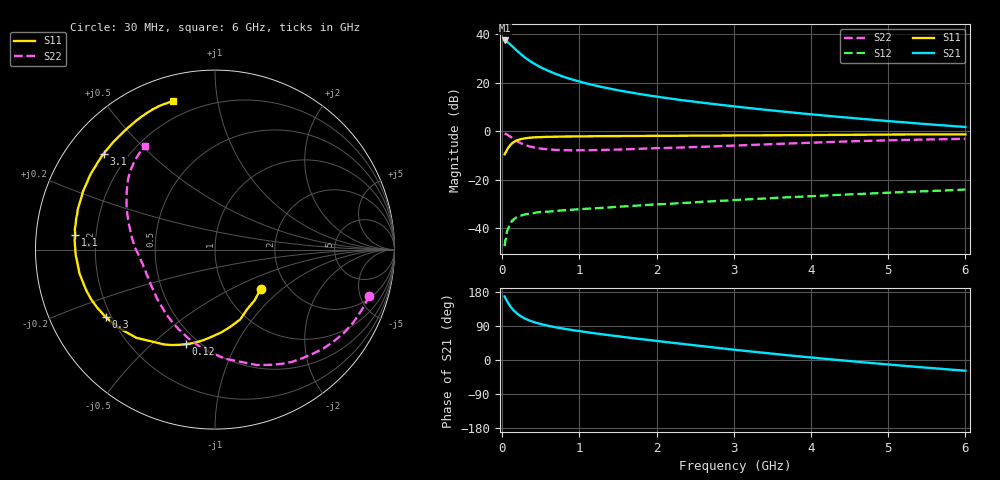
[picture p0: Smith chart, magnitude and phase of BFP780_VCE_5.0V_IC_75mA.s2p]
! Infineon Technologies  Discrete & RF Semiconductors
! BFP780
! VCE =  5.0 V,  IC =  75 mA
! Common Emitter S-Parameters:  Jul 2015
# GHz  S  MA  R  50
!  f  S11  S21  S12  S22
! GHz  MAG  ANG  MAG  ANG  MAG  ANG  MAG  ANG
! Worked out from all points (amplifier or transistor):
!   75 points, 30 MHz to 6 GHz, reference 50 ohm
!   highest |S21| = 37.4 dB at 30 MHz (marker M1)
!   |S21| within 3 dB of that: start of sweep to 148.6 MHz
!   unconditionally stable (mu >= 1): 1.742 GHz to end of sweep
!   at 150 MHz: K = 0.21, MSG = 35.3 dB, |S12| = -36.2 dB
!   at 2.3 GHz: K = 1.13, MAG = 19.1 dB, |S12| = -29.6 dB
!   at 6 GHz: K = 1.19, MAG = 10.3 dB, |S12| = -24.0 dB
!   S11 on the Smith chart (normalised r, x): 30 MHz: 1.47, -0.73; 120 MHz: 0.43, -0.65; 300 MHz: 0.18, -0.27; 1.1 GHz: 0.12, +0.05; 3.1 GHz: 0.11, +0.37; 6 GHz: 0.12, +0.75
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0.03  0.3356 -40.9  73.8 167.7  0.0043 62.8  0.8981 -16.7
0.05  0.3786 -62.0  71.18 159.6  0.0062 63.7  0.8715 -27.6
0.07  0.4369 -78.3  67.78 152.4  0.0094 60.5  0.8362 -37.7
0.08  0.4619 -85.4  65.89 148.9  0.0101 54.3  0.8175 -42.4
0.1  0.5081 -97.2  61.79 142.8  0.0122 48.9  0.7768 -51.1
0.12  0.5503 -106.9  57.71 137.3  0.0139 49.1  0.7378 -59.5
0.15  0.5996 -118.2  51.99 130.3  0.0155 44.3  0.6836 -70.2
0.2  0.6583 -131.7  43.79 121.1  0.0176 39.1  0.6097 -85.0
0.25  0.6929 -141.2  37.43 114.2  0.0185 35.0  0.5575 -96.8
0.3  0.7161 -148.4  32.37 108.7  0.0195 31.2  0.5167 -106.6
0.35  0.7323 -154.0  28.42 104.3  0.0202 29.1  0.4875 -114.6
0.4  0.7439 -158.3  25.27 100.7  0.0205 27.2  0.4668 -121.3
0.5  0.7564 -165.1  20.61 94.8  0.0218 26.1  0.4379 -131.9
0.6  0.7667 -170.2  17.34 90.1  0.0221 25.1  0.4225 -140.1
0.8  0.7767 -177.8  13.11 82.5  0.0236 24.8  0.4075 -151.7
1.1  0.784 173.9  9.539 73.2  0.0254 25.6  0.4049 -163.2
1.5  0.7929 165.6  6.963 62.7  0.0279 27.5  0.4187 -173.0
2.1  0.8041 154.9  4.879 47.9  0.0316 28.7  0.4505 176.9
3.1  0.8186 139.2  3.118 25.1  0.0389 28.4  0.5123 160.9
4.1  0.835 125.1  2.154 4.7  0.0466 25.5  0.5872 146.9
5.1  0.8553 113.8  1.57 -13.6  0.0551 21.2  0.6542 134.7
6  0.859 105.7  1.223 -28.4  0.063 15.7  0.6982 124.0
